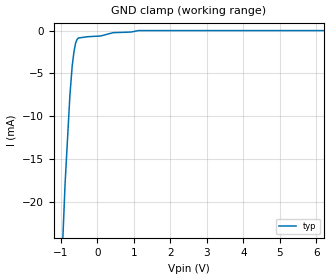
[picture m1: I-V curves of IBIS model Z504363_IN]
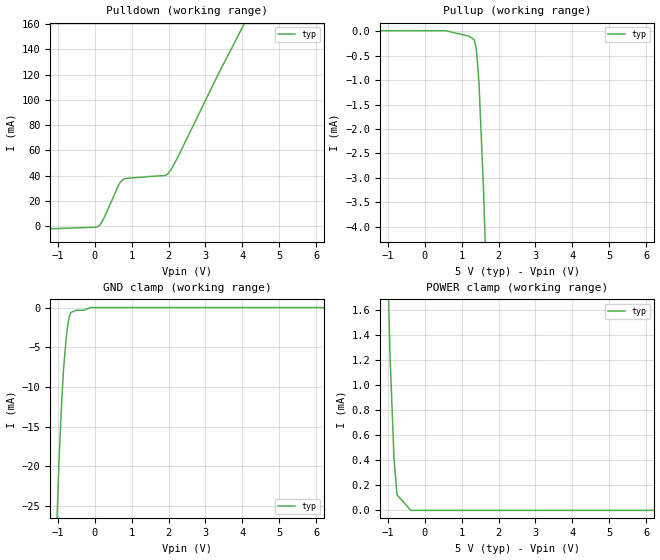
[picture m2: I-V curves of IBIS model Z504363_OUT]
| YOU ARE ONLY AUTHORIZED TO USE THIS SOFTWARE
| ACCORDING TO LICENSOR'S LICENSE RESTRICTIONS.
[IBIS Ver] 3.1
[File Name] sn54ls107aj.ibs
[File Rev] 2.0
[Source] Measured and created by ICX Technology
[Date] Friday 7/14/00 9:08:13 AM
[Copyright]
| (C) COPYRIGHT 1993-2000
| MENTOR GRAPHICS CORPORATION
| ICX STANDARD LIBRARY, ICX PROJECT MODELING,
| ICX CUSTOM MODELING, ICX VENDOR MODEL
| ALL RIGHTS RESERVED.
| THE FOLLOWING ARE TRADEMARKS OR SERVICE MARKS OF
| MENTOR GRAPHICS CORPORATION:ICX (R), ICX STANDARD
| LIBRARY(R), ICX PROJECT MODELING(R), ICX CUSTOM
| MODELING(R), qualityIBIS(TM), MODELVIEWER(TM),
| AND MODELEDITOR(TM)
| ALL COPIES OF SOFTWARE, INCLUDING BUT NOT LIMITED TO
| ANY MODIFICATIONS, ENHANCEMENTS OR DERIVATIVE WORKS,
| MUST CONTAIN ALL MENTOR GRAPHICS CORPORATION'S
| NOTICES AND LEGENDS, INCLUDING THOSE EMBEDDED IN
| SOFTWARE AND THOSE AFFIXED TO SOFTWARE MEDIUM
| AND CONTAINER, AS RECEIVED FROM MENTOR GRAPHICS
| CORPORATION.
|  ZAP Model Builder 2.7
[Component] SN54LS107AJ
[Manufacturer] OnSemiconductor
[Package]
| variable   typ   min   max
R_pkg  .21ohms NA NA
L_pkg  4.543nH NA NA
C_pkg  1.8pF NA NA
[Pin] signal_name  model_name  R_pin  L_pin C_pin
1 J Z504363_IN .22 6.757n 2.434p
2 _Q Z504363_OUT .212 4.757n 1.941p
3 Q Z504363_OUT .204 3.257n 1.448p
4 K Z504363_IN .196 2.257n .955p
5 Q Z504363_OUT .204 3.257n 1.448p
6 _Q Z504363_OUT .212 4.757n 1.941p
7 GND GND .22 6.757n 2.434p
8 J Z504363_IN .22 6.757n 2.434p
9 _CLK Z504363_IN .212 4.757n 1.941p
10 _CLR Z504363_IN .204 3.257n 1.448p
11 K Z504363_IN .196 2.257n .955p
12 _CLK Z504363_IN .204 3.257n 1.448p
13 _CLR Z504363_IN .212 4.757n 1.941p
14 VCC POWER .22 6.757n 2.434p
| Models and submodels in the file (2): Z504363_IN (Input), Z504363_OUT (Output)
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| (C) COPYRIGHT 1993-2000
| MENTOR GRAPHICS CORPORATION
| ICX STANDARD LIBRARY, ICX PROJECT MODELING,
| ICX CUSTOM MODELING, ICX VENDOR MODEL
| ALL RIGHTS RESERVED.
| THE FOLLOWING ARE TRADEMARKS OR SERVICE MARKS OF
| MENTOR GRAPHICS CORPORATION:ICX (R), ICX STANDARD
| LIBRARY(R), ICX PROJECT MODELING(R), ICX CUSTOM
| MODELING(R), qualityIBIS(TM), MODELVIEWER(TM),
| AND MODELEDITOR(TM)
| ALL COPIES OF SOFTWARE, INCLUDING BUT NOT LIMITED TO
| ANY MODIFICATIONS, ENHANCEMENTS OR DERIVATIVE WORKS,
| MUST CONTAIN ALL MENTOR GRAPHICS CORPORATION'S
| NOTICES AND LEGENDS, INCLUDING THOSE EMBEDDED IN
| SOFTWARE AND THOSE AFFIXED TO SOFTWARE MEDIUM
| AND CONTAINER, AS RECEIVED FROM MENTOR GRAPHICS
| CORPORATION.
| Model Application Version 1.89 2/18/99.
[Model] Z504363_IN
Model_type Input
Vinl = 800.0mV
Vinh = 2.000V
C_comp 4.000pF NA NA
| variable typ   min   max
[Voltage Range] 5.000V NA NA
[GND Clamp Reference] 0.000V NA NA
[POWER Clamp Reference] 5.000V NA NA
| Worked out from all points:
|   GND clamp passes 1 mA (typ) near -0.55 V on its own axis
[GND Clamp]
-5V       -450.4mA   NA         NA
-884.5mV  -17.99mA   NA         NA
-751.8mV  -7.574mA   NA         NA
-688.4mV  -4.131mA   NA         NA
-640.8mV  -2.496mA   NA         NA
-595.6mV  -1.461mA   NA         NA
-522.5mV  -867uA     NA         NA
93.12mV   -630.4uA   NA         NA
430.4mV   -245.7uA   NA         NA
927.7mV   -169.7uA   NA         NA
1.123V    629.9nA    NA         NA
10V       629.9nA    NA         NA
[POWER Clamp]
-5V       0A         NA         NA
10V       0A         NA         NA
| (C) COPYRIGHT 1993-2000
| MENTOR GRAPHICS CORPORATION
| ICX STANDARD LIBRARY, ICX PROJECT MODELING,
| ICX CUSTOM MODELING, ICX VENDOR MODEL
| ALL RIGHTS RESERVED.
| THE FOLLOWING ARE TRADEMARKS OR SERVICE MARKS OF
| MENTOR GRAPHICS CORPORATION:ICX (R), ICX STANDARD
| LIBRARY(R), ICX PROJECT MODELING(R), ICX CUSTOM
| MODELING(R), qualityIBIS(TM), MODELVIEWER(TM),
| AND MODELEDITOR(TM)
| ALL COPIES OF SOFTWARE, INCLUDING BUT NOT LIMITED TO
| ANY MODIFICATIONS, ENHANCEMENTS OR DERIVATIVE WORKS,
| MUST CONTAIN ALL MENTOR GRAPHICS CORPORATION'S
| NOTICES AND LEGENDS, INCLUDING THOSE EMBEDDED IN
| SOFTWARE AND THOSE AFFIXED TO SOFTWARE MEDIUM
| AND CONTAINER, AS RECEIVED FROM MENTOR GRAPHICS
| CORPORATION.
| Model Application Version 1.89 2/18/99.
[Model] Z504363_OUT
Model_type Output
Vref=5.000V
Rref=2.000kohms
Cref=15.00pF
Vmeas=1.300V
C_comp 8.000pF NA NA
| variable typ   min   max
[Voltage Range] 5.000V NA NA
[POWER Clamp Reference] 5.000V NA NA
[Pullup Reference] 5.000V NA NA
[Pulldown Reference] 0.000V NA NA
[GND Clamp Reference] 0.000V NA NA
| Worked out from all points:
|   slope of the pulldown table from 0 to 0.75 V, typ, clamps not added: 20.1 ohm
|   slope of the pullup table from 0 to 0.75 V, typ, clamps not added: 22.8 kohm
|   GND clamp passes 1 mA (typ) near -0.67 V on its own axis
|   POWER clamp passes 1 mA (typ) near -0.91 V on its own axis
[GND Clamp]
-5V       -776.7mA   NA         NA
-1.034V   -28.96mA   NA         NA
-966.5mV  -19.64mA   NA         NA
-891.3mV  -11.89mA   NA         NA
-838.3mV  -7.568mA   NA         NA
-763.1mV  -3.583mA   NA         NA
-726.9mV  -2.144mA   NA         NA
-683.6mV  -1.131mA   NA         NA
-644.5mV  -639.1uA   NA         NA
-498.9mV  -334.4uA   NA         NA
-103.9mV  0A         NA         NA
10V       0A         NA         NA
[Pulldown]
-5V       -6.221mA   NA         NA
68.4mV    -801.1uA   NA         NA
131.6mV   316.4uA    NA         NA
242.9mV   5.535mA    NA         NA
650.8mV   32.45mA    NA         NA
766.8mV   36.87mA    NA         NA
1.88V     39.89mA    NA         NA
1.982V    41.41mA    NA         NA
2.075V    44.95mA    NA         NA
2.246V    54.2mA     NA         NA
3.328V    119.3mA    NA         NA
10V       499.2mA    NA         NA
[Pullup]
-5V       15.1uA     NA         NA
566mV     15.1uA     NA         NA
1.201V    -98.34uA   NA         NA
1.343V    -173.6uA   NA         NA
1.399V    -351.7uA   NA         NA
1.47V     -1.036mA   NA         NA
1.591V    -3.184mA   NA         NA
10V       -201.2mA   NA         NA
[POWER Clamp]
-5V       49.16mA    NA         NA
-937mV    1.246mA    NA         NA
-829mV    414.9uA    NA         NA
-747mV    123.8uA    NA         NA
-373.5mV  0A         NA         NA
10V       0A         NA         NA
[Ramp]
| variable typ min max
dV/dt_r 1.899/13.73n NA NA
dV/dt_f 1.899/4.079n NA NA
R_load = 500.0Ohms
